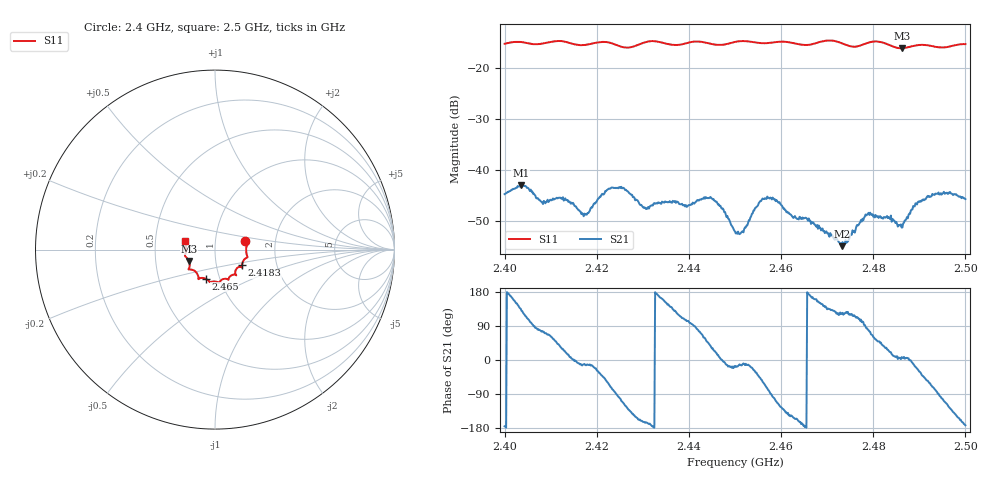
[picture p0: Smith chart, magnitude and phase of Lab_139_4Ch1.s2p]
# Hz S RI R 50
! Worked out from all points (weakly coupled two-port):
!   601 points, 2.4 GHz to 2.5 GHz, reference 50 ohm
!   highest |S21| = -43.03 dB at 2.4035 GHz (marker M1); lowest = -55.0 dB at 2.4732 GHz (marker M2)
!   lowest |S11| = -16.0 dB at 2.4862 GHz (marker M3), VSWR 1.38, Z = 37.1 - j4.82 ohm
!   |S11| at or under -10 dB: start of sweep to end of sweep
!   S12 and S22 are empty: the file has one direction only
!   S11 on the Smith chart (normalised r, x): 2.4 GHz: 1.40, +0.13; 2.4183 GHz: 1.33, -0.24; 2.465 GHz: 0.86, -0.29; 2.5 GHz: 0.71, +0.07
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2.4e9  0.1689 0.0461  -0.00577 -0.000514  0 0  0 0
2.4035e9  0.1798 0.0302  -0.00499 0.00499  0 0  0 0
2.408333e9  0.1752 -0.0201  0.00125 0.00446  0 0  0 0
2.413167e9  0.1776 -0.0445  0.0049 0.00192  0 0  0 0
2.416667e9  0.1551 -0.0684  0.00358 -0.000845  0 0  0 0
2.418333e9  0.1498 -0.0869  0.00377 -0.000866  0 0  0 0
2.4235e9  0.1463 -0.097  0.00136 -0.00658  0 0  0 0
2.4305e9  0.1151 -0.1396  -0.00411 -0.00105  0 0  0 0
2.433333e9  0.1169 -0.1411  -0.00474 0.000829  0 0  0 0
2.444833e9  0.063 -0.1628  0.0044 0.00297  0 0  0 0
2.45e9  0.0253 -0.1807  0.00239 -0.000676  0 0  0 0
2.4515e9  0.0218 -0.1848  0.0024 -0.000597  0 0  0 0
2.4565e9  -0.00547 -0.1771  0.00215 -0.00483  0 0  0 0
2.465e9  -0.0528 -0.1621  -0.00333 -0.000429  0 0  0 0
2.466667e9  -0.0713 -0.1575  -0.00296 0.000833  0 0  0 0
2.473167e9  -0.0927 -0.1512  -0.000951 0.00151  0 0  0 0
2.478833e9  -0.1407 -0.1105  0.00063 0.00365  0 0  0 0
2.483333e9  -0.1421 -0.0959  0.00312 0.00145  0 0  0 0
2.486167e9  -0.1447 -0.0633  0.00269 0.000368  0 0  0 0
2.489167e9  -0.1634 -0.0401  0.00448 -0.00145  0 0  0 0
2.492333e9  -0.1658 -0.0252  0.00261 -0.00477  0 0  0 0
2.5e9  -0.167 0.0472  -0.00513 -0.000699  0 0  0 0
